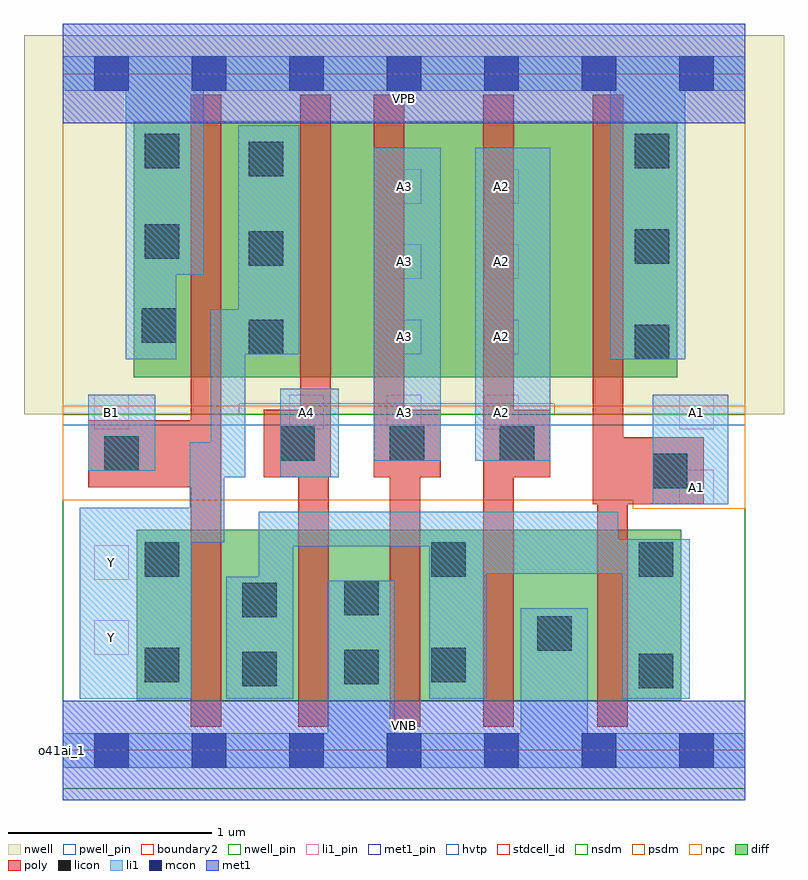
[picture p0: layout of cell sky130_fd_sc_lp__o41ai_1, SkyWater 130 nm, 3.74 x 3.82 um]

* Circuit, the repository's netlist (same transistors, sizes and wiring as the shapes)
* Copyright 2020 The SkyWater PDK Authors
*
* Licensed under the Apache License, Version 2.0 (the "License");
* you may not use this file except in compliance with the License.
* You may obtain a copy of the License at
*
*     https://www.apache.org/licenses/LICENSE-2.0
*
* Unless required by applicable law or agreed to in writing, software
* distributed under the License is distributed on an "AS IS" BASIS,
* WITHOUT WARRANTIES OR CONDITIONS OF ANY KIND, either express or implied.
* See the License for the specific language governing permissions and
* limitations under the License.
*
* SPDX-License-Identifier: Apache-2.0

.SUBCKT sky130_fd_sc_lp__o41ai_1 A1 A2 A3 A4 B1 VGND VNB VPB VPWR Y
*.PININFO A1:I A2:I A3:I A4:I B1:I VGND:I VNB:I VPB:I VPWR:I Y:O
MMPA0 VPWR A1 sndA1 VPB sky130_fd_pr__pfet_01v8_hvt m=1 w=1.26U l=0.15U mult=1
+ sa=0.265 sb=0.265 sd=0.28 area=0.063 perim=1.14
MMPA1 sndA1 A2 sndA2 VPB sky130_fd_pr__pfet_01v8_hvt m=1 w=1.26U l=0.15U mult=1
+ sa=0.265 sb=0.265 sd=0.28 area=0.063 perim=1.14
MMPA2 sndA2 A3 sndA3 VPB sky130_fd_pr__pfet_01v8_hvt m=1 w=1.26U l=0.15U mult=1
+ sa=0.265 sb=0.265 sd=0.28 area=0.063 perim=1.14
MMPA3 sndA3 A4 Y VPB sky130_fd_pr__pfet_01v8_hvt m=1 w=1.26U l=0.15U mult=1 sa=0.265
+ sb=0.265 sd=0.28 area=0.063 perim=1.14
MMPB0 VPWR B1 Y VPB sky130_fd_pr__pfet_01v8_hvt m=1 w=1.26U l=0.15U mult=1 sa=0.265
+ sb=0.265 sd=0.28 area=0.063 perim=1.14
MMNA0 pndA A1 VGND VNB sky130_fd_pr__nfet_01v8 m=1 w=0.84U l=0.15U mult=1 sa=0.265
+ sb=0.265 sd=0.28 area=0.063 perim=1.14
MMNA1 pndA A2 VGND VNB sky130_fd_pr__nfet_01v8 m=1 w=0.84U l=0.15U mult=1 sa=0.265
+ sb=0.265 sd=0.28 area=0.063 perim=1.14
MMNA2 pndA A3 VGND VNB sky130_fd_pr__nfet_01v8 m=1 w=0.84U l=0.15U mult=1 sa=0.265
+ sb=0.265 sd=0.28 area=0.063 perim=1.14
MMNA3 pndA A4 VGND VNB sky130_fd_pr__nfet_01v8 m=1 w=0.84U l=0.15U mult=1 sa=0.265
+ sb=0.265 sd=0.28 area=0.063 perim=1.14
MMNB0 Y B1 pndA VNB sky130_fd_pr__nfet_01v8 m=1 w=0.84U l=0.15U mult=1 sa=0.265
+ sb=0.265 sd=0.28 area=0.063 perim=1.14
.ENDS sky130_fd_sc_lp__o41ai_1

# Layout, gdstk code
import gdstk
lib = gdstk.Library(unit=1e-6, precision=1e-09)
def R(c, l, rs):  # rectangles x0, y0, x1, y1
    for r in rs: c.add(gdstk.rectangle(r[:2], r[2:], *l))
def A(c, l, x, y, w, h, nx, ny, dx, dy):  # array of equal rectangles
    R(c, l, [(x+i*dx, y+j*dy, x+i*dx+w, y+j*dy+h) for i in range(nx) for j in range(ny)])
def P(c, l, *ps):  # polygons
    for p in ps: c.add(gdstk.Polygon(p, *l))
nwell_pin = (64, 16)
nwell = (64, 20)
diff = (65, 20)
poly = (66, 20)
licon = (66, 44)
li1_pin = (67, 16)
li1 = (67, 20)
mcon = (67, 44)
met1_pin = (68, 16)
met1 = (68, 20)
hvtp = (78, 44)
stdcell_id = (81, 4)
nsdm = (93, 44)
psdm = (94, 20)
npc = (95, 20)
pwell_pin = (122, 16)
boundary2 = (236, 0)

sky130_fd_sc_lp__o41ai_1 = lib.new_cell('sky130_fd_sc_lp__o41ai_1')
R(sky130_fd_sc_lp__o41ai_1, nwell_pin, [(0,3.085,3.36,3.33)])
R(sky130_fd_sc_lp__o41ai_1, nwell, [(-0.19,1.655,3.55,3.52)])
R(sky130_fd_sc_lp__o41ai_1, diff, [(0.365,0.245,3.045,1.085), (0.35,1.835,3.025,3.095)])
P(sky130_fd_sc_lp__o41ai_1, poly, [(0.78,3.225),(0.63,3.225),(0.63,1.625),(0.125,1.625),(0.125,1.295),(0.63,1.295),(0.63,0.115),(0.78,0.115)],
  [(1.32,3.225),(1.17,3.225),(1.17,1.675),(0.99,1.675),(0.99,1.345),(1.16,1.345),(1.16,0.115),(1.31,0.115),(1.31,1.345),(1.32,1.345)],
  [(1.86,1.675),(1.68,1.675),(1.68,3.225),(1.53,3.225),(1.53,1.345),(1.61,1.345),(1.61,0.115),(1.76,0.115),(1.76,1.345),(1.86,1.345)],
  [(2.4,1.675),(2.22,1.675),(2.22,3.225),(2.07,3.225),(2.07,0.115),(2.22,0.115),(2.22,1.345),(2.4,1.345)],
  [(3.155,1.54),(2.76,1.54),(2.76,3.225),(2.61,3.225),(2.61,1.21),(2.63,1.21),(2.63,0.115),(2.78,0.115),(2.78,1.21),(3.155,1.21)])
A(sky130_fd_sc_lp__o41ai_1, licon, 1.07, 1.425, 0.17, 0.17, 3, 1, 0.54, 0)
A(sky130_fd_sc_lp__o41ai_1, licon, 2.815, 1.925, 0.17, 0.17, 1, 3, 0, 0.47)
R(sky130_fd_sc_lp__o41ai_1, licon, [(2.835,0.305,3.005,0.475), (0.885,0.315,1.055,0.485), (1.385,0.325,1.555,0.495), (0.405,0.335,0.575,0.505), (1.815,0.335,1.985,0.505), (2.335,0.49,2.505,0.66), (0.885,0.655,1.055,0.825), (1.385,0.665,1.555,0.835), (0.405,0.855,0.575,1.025), (1.815,0.855,1.985,1.025), (2.835,0.855,3.005,1.025), (2.905,1.29,3.075,1.46), (0.205,1.375,0.375,1.545), (0.915,1.95,1.085,2.12), (0.39,2.005,0.56,2.175), (0.915,2.385,1.085,2.555), (0.405,2.42,0.575,2.59), (0.915,2.825,1.085,2.995), (0.405,2.865,0.575,3.035)])
A(sky130_fd_sc_lp__o41ai_1, li1_pin, 1.115, 1.58, 0.17, 0.17, 3, 1, 0.48, 0)
A(sky130_fd_sc_lp__o41ai_1, li1_pin, 1.595, 1.95, 0.17, 0.17, 1, 3, 0, 0.37)
A(sky130_fd_sc_lp__o41ai_1, li1_pin, 2.075, 1.95, 0.17, 0.17, 1, 3, 0, 0.37)
R(sky130_fd_sc_lp__o41ai_1, li1_pin, [(0.155,0.47,0.325,0.64), (0.155,0.84,0.325,1.01), (3.035,1.21,3.205,1.38), (0.155,1.58,0.325,1.75), (3.035,1.58,3.205,1.75)])
R(sky130_fd_sc_lp__o41ai_1, li1, [(2.905,1.21,3.275,1.75), (1.07,1.345,1.36,1.78), (0.125,1.375,0.455,1.75), (1.53,1.425,1.86,2.965), (2.03,1.425,2.4,2.965)])
P(sky130_fd_sc_lp__o41ai_1, li1, [(3.36,3.415),(0,3.415),(0,3.245),(0.31,3.245),(0.31,1.925),(0.56,1.925),(0.56,2.34),(0.695,2.34),(0.695,3.245),(2.695,3.245),(2.695,1.925),(3.065,1.925),(3.065,3.245),(3.36,3.245)],
  [(2.255,0.085),(2.255,0.7),(2.585,0.7),(2.585,0.085),(3.36,0.085),(3.36,-0.085),(0,-0.085),(0,0.085),(1.305,0.085),(1.305,0.835),(1.635,0.835),(1.635,0.085)],
  [(1.165,3.075),(0.865,3.075),(0.865,2.17),(0.73,2.17),(0.73,1.515),(0.625,1.515),(0.625,1.195),(0.085,1.195),(0.085,0.255),(0.635,0.255),(0.635,1.025),(0.795,1.025),(0.795,1.345),(0.9,1.345),(0.9,1.95),(1.165,1.95)],
  [(3.085,1.04),(2.735,1.04),(2.735,1.175),(0.965,1.175),(0.965,0.855),(0.805,0.855),(0.805,0.255),(1.135,0.255),(1.135,1.005),(1.805,1.005),(1.805,0.255),(2.085,0.255),(2.085,0.87),(2.755,0.87),(2.755,0.255),(3.085,0.255)])
A(sky130_fd_sc_lp__o41ai_1, mcon, 0.155, -0.085, 0.17, 0.17, 7, 2, 0.48, 3.33)
R(sky130_fd_sc_lp__o41ai_1, met1_pin, [(0,0,3.36,0.245), (0,3.085,3.36,3.33)])
R(sky130_fd_sc_lp__o41ai_1, met1, [(0,-0.245,3.36,0.245), (0,3.085,3.36,3.575)])
R(sky130_fd_sc_lp__o41ai_1, hvtp, [(0,1.6,3.36,3.33)])
R(sky130_fd_sc_lp__o41ai_1, stdcell_id, [(0,0,3.36,3.33)])
R(sky130_fd_sc_lp__o41ai_1, nsdm, [(0,-0.19,3.36,1.655)])
P(sky130_fd_sc_lp__o41ai_1, psdm, [(3.36,3.52),(0,3.52),(0,1.655),(0.87,1.655),(0.87,1.705),(2.42,1.705),(2.42,1.655),(3.36,1.655)])
P(sky130_fd_sc_lp__o41ai_1, npc, [(3.36,1.695),(0,1.695),(0,1.23),(2.805,1.23),(2.805,1.19),(3.36,1.19)])
R(sky130_fd_sc_lp__o41ai_1, pwell_pin, [(0,0,3.36,0.245)])
R(sky130_fd_sc_lp__o41ai_1, boundary2, [(0,0,3.36,3.33)])
sky130_fd_sc_lp__o41ai_1.add(gdstk.Label('VNB', (1.68,0.123), layer=64, texttype=59))
sky130_fd_sc_lp__o41ai_1.add(gdstk.Label('VPB', (1.68,3.208), layer=64, texttype=5))
sky130_fd_sc_lp__o41ai_1.add(gdstk.Label('o41ai_1', (0,0), layer=83, texttype=44))
sky130_fd_sc_lp__o41ai_1.add(gdstk.Label('VPWR', (1.68,3.208), layer=68, texttype=5))
sky130_fd_sc_lp__o41ai_1.add(gdstk.Label('VGND', (1.68,0.123), layer=68, texttype=5))
sky130_fd_sc_lp__o41ai_1.add(gdstk.Label('A1', (3.12,1.295), layer=67, texttype=5))
sky130_fd_sc_lp__o41ai_1.add(gdstk.Label('A1', (3.12,1.665), layer=67, texttype=5))
sky130_fd_sc_lp__o41ai_1.add(gdstk.Label('A2', (2.16,1.665), layer=67, texttype=5))
sky130_fd_sc_lp__o41ai_1.add(gdstk.Label('A3', (1.68,1.665), layer=67, texttype=5))
sky130_fd_sc_lp__o41ai_1.add(gdstk.Label('A2', (2.16,2.405), layer=67, texttype=5))
sky130_fd_sc_lp__o41ai_1.add(gdstk.Label('A4', (1.2,1.665), layer=67, texttype=5))
sky130_fd_sc_lp__o41ai_1.add(gdstk.Label('Y', (0.24,0.925), layer=67, texttype=5))
sky130_fd_sc_lp__o41ai_1.add(gdstk.Label('Y', (0.24,0.555), layer=67, texttype=5))
sky130_fd_sc_lp__o41ai_1.add(gdstk.Label('A3', (1.68,2.035), layer=67, texttype=5))
sky130_fd_sc_lp__o41ai_1.add(gdstk.Label('A2', (2.16,2.035), layer=67, texttype=5))
sky130_fd_sc_lp__o41ai_1.add(gdstk.Label('A3', (1.68,2.405), layer=67, texttype=5))
sky130_fd_sc_lp__o41ai_1.add(gdstk.Label('B1', (0.24,1.665), layer=67, texttype=5))
sky130_fd_sc_lp__o41ai_1.add(gdstk.Label('A2', (2.16,2.775), layer=67, texttype=5))
sky130_fd_sc_lp__o41ai_1.add(gdstk.Label('A3', (1.68,2.775), layer=67, texttype=5))

lib.write_gds('sky130_fd_sc_lp__o41ai_1.gds')
